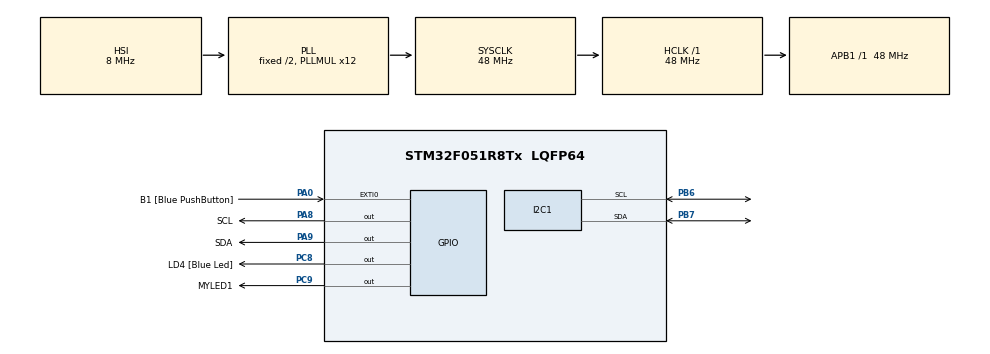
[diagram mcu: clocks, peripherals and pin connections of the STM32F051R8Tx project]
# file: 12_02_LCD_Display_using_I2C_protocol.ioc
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Mcu.Family=STM32F0
Mcu.Name=STM32F051R8Tx
Mcu.Package=LQFP64
PA0.GPIO_Label=B1 [Blue PushButton]
PA0.GPIO_ModeDefaultEXTI=GPIO_MODE_EVT_RISING
PA0.Signal=GPXTI0
PA13.GPIO_Label=SWDIO
PA13.Signal=SYS_SWDIO
PA14.GPIO_Label=SWCLK
PA14.Signal=SYS_SWCLK
PA8.GPIO_Label=SCL
PA8.Signal=GPIO_Output
PA9.GPIO_Label=SDA
PA9.Signal=GPIO_Output
PB6.Mode=I2C
PB6.Signal=I2C1_SCL
PB7.Mode=I2C
PB7.Signal=I2C1_SDA
PC8.GPIO_Label=LD4 [Blue Led]
PC8.Signal=GPIO_Output
PC9.GPIO_Label=MYLED1
PC9.Signal=GPIO_Output
ProjectManager.HeapSize=0x200
ProjectManager.StackSize=0x400
ProjectManager.TargetToolchain=STM32CubeIDE
RCC.AHBFreq_Value=48000000
RCC.APB1Freq_Value=48000000
RCC.APB1TimFreq_Value=48000000
RCC.HCLKFreq_Value=48000000
RCC.PLLMUL=RCC_PLL_MUL12
RCC.SYSCLKFreq_VALUE=48000000
RCC.SYSCLKSource=RCC_SYSCLKSOURCE_PLLCLK
board=STM32F0DISCOVERY

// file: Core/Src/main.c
/* USER CODE BEGIN Header */
/**
  ******************************************************************************
  * @file           : main.c
  * @brief          : Main program body
  ******************************************************************************
  * @attention
  *
  * <h2><center>&copy; Copyright (c) 2023 STMicroelectronics.
  * All rights reserved.</center></h2>
  *
  * This software component is licensed by ST under BSD 3-Clause license,
  * the "License"; You may not use this file except in compliance with the
  * License. You may obtain a copy of the License at:
  *                        opensource.org/licenses/BSD-3-Clause
  *
  ******************************************************************************
  */
/* USER CODE END Header */
#include "main.h"
#include "lcd16x2_i2c.h"
/* USER CODE BEGIN Includes */
//#define SCL     TRISB4 // I2C bus
//#define SDA     TRISB1 //
//#define SCL_IN  RB4    //
//#define SDA_IN  RB1    //
/* USER CODE END Includes */

/* USER CODE BEGIN PTD */

//SCL_IN = SDA_IN = 0;
/* USER CODE END PTD */

/* USER CODE BEGIN PM */
void i2c_dly(void)
{
	 HAL_Delay(100);
}
/* USER CODE END PM */

I2C_HandleTypeDef hi2c1;

/* USER CODE BEGIN PV */
void i2c_start(void)
{
//  SDA = 1;             // i2c start bit sequence
  HAL_GPIO_WritePin(SDA_GPIO_Port, SDA_Pin, GPIO_PIN_SET);
  i2c_dly();
//  SCL = 1;
  HAL_GPIO_WritePin(SCL_GPIO_Port, SCL_Pin, GPIO_PIN_SET);
  i2c_dly();
//  SDA = 0;
  HAL_GPIO_WritePin(SDA_GPIO_Port, SDA_Pin, GPIO_PIN_SET);
  i2c_dly();
//  SCL = 0;
  HAL_GPIO_WritePin(SCL_GPIO_Port, SCL_Pin, GPIO_PIN_SET);
  i2c_dly();
}

void i2c_stop(void)
{
//	SDA = 0;
  HAL_GPIO_WritePin(SDA_GPIO_Port, SDA_Pin, GPIO_PIN_RESET);
               // i2c stop bit sequence
  i2c_dly();
//  SCL = 1;
  HAL_GPIO_WritePin(SCL_GPIO_Port, SCL_Pin, GPIO_PIN_SET);
  i2c_dly();
//  SDA = 1;
  HAL_GPIO_WritePin(SDA_GPIO_Port, SDA_Pin, GPIO_PIN_SET);
  i2c_dly();
}

int i2c_tx(unsigned char d)
{
char x;
static int b=1;   //b =a(65 =  0100,0001)
  for(x=8; x; x--) {
    if(d&0x80) HAL_GPIO_WritePin(SDA_GPIO_Port, SDA_Pin, GPIO_PIN_SET); //sda =1  //d&0x80  =  0100,0001 & 1000,0000
    else HAL_GPIO_WritePin(SDA_GPIO_Port, SDA_Pin, GPIO_PIN_RESET);			//SDA = 0
//    SCL = 0;
    HAL_GPIO_WritePin(SCL_GPIO_Port, SCL_Pin, GPIO_PIN_SET);
    d <<= 1;
//    SCL = 0;
    HAL_GPIO_WritePin(SCL_GPIO_Port, SCL_Pin, GPIO_PIN_RESET);
  }
//  SDA = 1;
  HAL_GPIO_WritePin(SDA_GPIO_Port, SDA_Pin, GPIO_PIN_SET);
//  SCL = 1;
  HAL_GPIO_WritePin(SCL_GPIO_Port, SCL_Pin, GPIO_PIN_SET);
  i2c_dly();
//  b = SDA_IN;          // possible ACK bit
//  SCL = 0;
  HAL_GPIO_WritePin(SCL_GPIO_Port, SCL_Pin, GPIO_PIN_RESET);
  return b;
}

/* USER CODE END PV */

void SystemClock_Config(void);
static void MX_GPIO_Init(void);
static void MX_I2C1_Init(void);

int main(void)
{

  /* MCU Configuration--------------------------------------------------------*/

  /* Reset of all peripherals, Initializes the Flash interface and the Systick. */
  HAL_Init();

  /* Configure the system clock */
  SystemClock_Config();

  /* Initialize all configured peripherals */
  MX_GPIO_Init();
  MX_I2C1_Init();
  /* USER CODE BEGIN 2 */
  if(lcd16x2_i2c_init(&hi2c1))
    {
  	  HAL_GPIO_WritePin(MYLED1_GPIO_Port, MYLED1_Pin, GPIO_PIN_SET);
    }

    lcd16x2_i2c_printf("Hello World!");

  /* USER CODE END 2 */

  /* Infinite loop */
  while (1)
  {

  }
}

void SystemClock_Config(void)
{
  RCC_OscInitTypeDef RCC_OscInitStruct = {0};
  RCC_ClkInitTypeDef RCC_ClkInitStruct = {0};
  RCC_PeriphCLKInitTypeDef PeriphClkInit = {0};

  /** Initializes the RCC Oscillators according to the specified parameters
  * in the RCC_OscInitTypeDef structure.
  */
  RCC_OscInitStruct.OscillatorType = RCC_OSCILLATORTYPE_HSI;
  RCC_OscInitStruct.HSIState = RCC_HSI_ON;
  RCC_OscInitStruct.HSICalibrationValue = RCC_HSICALIBRATION_DEFAULT;
  RCC_OscInitStruct.PLL.PLLState = RCC_PLL_ON;
  RCC_OscInitStruct.PLL.PLLSource = RCC_PLLSOURCE_HSI;
  RCC_OscInitStruct.PLL.PLLMUL = RCC_PLL_MUL12;
  RCC_OscInitStruct.PLL.PREDIV = RCC_PREDIV_DIV1;
  if (HAL_RCC_OscConfig(&RCC_OscInitStruct) != HAL_OK)
  {
    Error_Handler();
  }
  /** Initializes the CPU, AHB and APB buses clocks
  */
  RCC_ClkInitStruct.ClockType = RCC_CLOCKTYPE_HCLK|RCC_CLOCKTYPE_SYSCLK
                              |RCC_CLOCKTYPE_PCLK1;
  RCC_ClkInitStruct.SYSCLKSource = RCC_SYSCLKSOURCE_PLLCLK;
  RCC_ClkInitStruct.AHBCLKDivider = RCC_SYSCLK_DIV1;
  RCC_ClkInitStruct.APB1CLKDivider = RCC_HCLK_DIV1;

  if (HAL_RCC_ClockConfig(&RCC_ClkInitStruct, FLASH_LATENCY_1) != HAL_OK)
  {
    Error_Handler();
  }
  PeriphClkInit.PeriphClockSelection = RCC_PERIPHCLK_I2C1;
  PeriphClkInit.I2c1ClockSelection = RCC_I2C1CLKSOURCE_HSI;
  if (HAL_RCCEx_PeriphCLKConfig(&PeriphClkInit) != HAL_OK)
  {
    Error_Handler();
  }
}

static void MX_I2C1_Init(void)
{

  hi2c1.Instance = I2C1;
  hi2c1.Init.Timing = 0x2000090E;
  hi2c1.Init.OwnAddress1 = 0;
  hi2c1.Init.AddressingMode = I2C_ADDRESSINGMODE_7BIT;
  hi2c1.Init.DualAddressMode = I2C_DUALADDRESS_DISABLE;
  hi2c1.Init.OwnAddress2 = 0;
  hi2c1.Init.OwnAddress2Masks = I2C_OA2_NOMASK;
  hi2c1.Init.GeneralCallMode = I2C_GENERALCALL_DISABLE;
  hi2c1.Init.NoStretchMode = I2C_NOSTRETCH_DISABLE;
  if (HAL_I2C_Init(&hi2c1) != HAL_OK)
  {
    Error_Handler();
  }
  /** Configure Analogue filter
  */
  if (HAL_I2CEx_ConfigAnalogFilter(&hi2c1, I2C_ANALOGFILTER_ENABLE) != HAL_OK)
  {
    Error_Handler();
  }
  /** Configure Digital filter
  */
  if (HAL_I2CEx_ConfigDigitalFilter(&hi2c1, 0) != HAL_OK)
  {
    Error_Handler();
  }

}

static void MX_GPIO_Init(void)
{
  GPIO_InitTypeDef GPIO_InitStruct = {0};

  /* GPIO Ports Clock Enable */
  __HAL_RCC_GPIOA_CLK_ENABLE();
  __HAL_RCC_GPIOC_CLK_ENABLE();
  __HAL_RCC_GPIOB_CLK_ENABLE();

  /*Configure GPIO pin Output Level */
  HAL_GPIO_WritePin(GPIOC, LD4_Pin|MYLED1_Pin, GPIO_PIN_RESET);

  /*Configure GPIO pin Output Level */
  HAL_GPIO_WritePin(GPIOA, SCL_Pin|SDA_Pin, GPIO_PIN_RESET);

  /*Configure GPIO pin : B1_Pin */
  GPIO_InitStruct.Pin = B1_Pin;
  GPIO_InitStruct.Mode = GPIO_MODE_EVT_RISING;
  GPIO_InitStruct.Pull = GPIO_NOPULL;
  HAL_GPIO_Init(B1_GPIO_Port, &GPIO_InitStruct);

  /*Configure GPIO pins : LD4_Pin MYLED1_Pin */
  GPIO_InitStruct.Pin = LD4_Pin|MYLED1_Pin;
  GPIO_InitStruct.Mode = GPIO_MODE_OUTPUT_PP;
  GPIO_InitStruct.Pull = GPIO_NOPULL;
  GPIO_InitStruct.Speed = GPIO_SPEED_FREQ_LOW;
  HAL_GPIO_Init(GPIOC, &GPIO_InitStruct);

  /*Configure GPIO pins : SCL_Pin SDA_Pin */
  GPIO_InitStruct.Pin = SCL_Pin|SDA_Pin;
  GPIO_InitStruct.Mode = GPIO_MODE_OUTPUT_PP;
  GPIO_InitStruct.Pull = GPIO_NOPULL;
  GPIO_InitStruct.Speed = GPIO_SPEED_FREQ_LOW;
  HAL_GPIO_Init(GPIOA, &GPIO_InitStruct);

}

void Error_Handler(void)
{
  __disable_irq();
  while (1)
  {
  }
}

/************************ (C) COPYRIGHT STMicroelectronics *****END OF FILE****/
